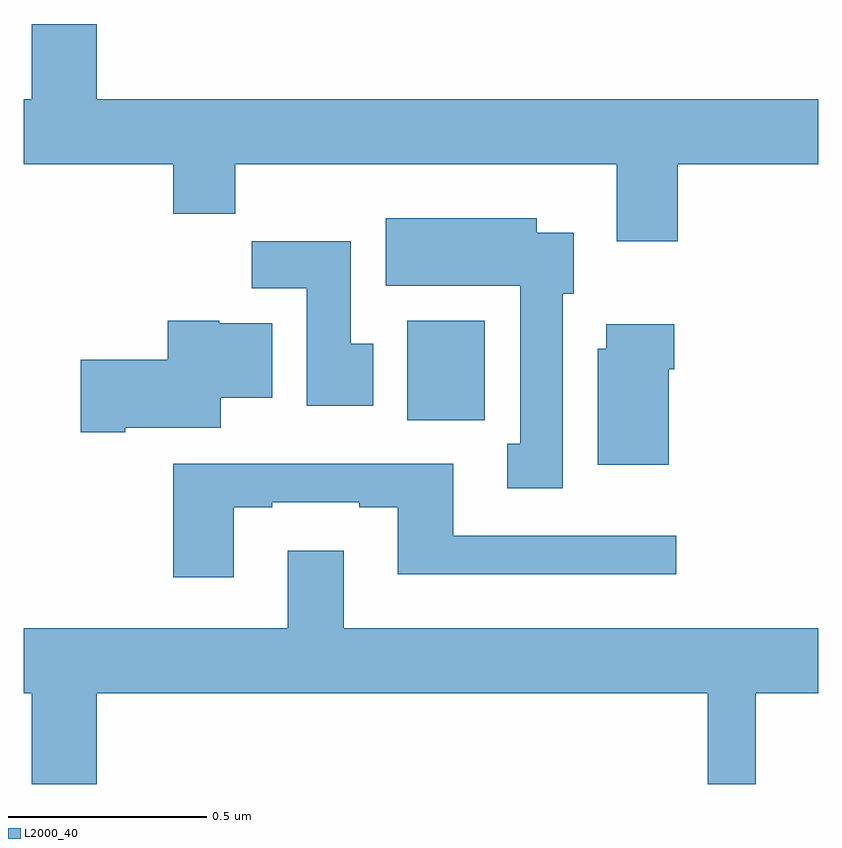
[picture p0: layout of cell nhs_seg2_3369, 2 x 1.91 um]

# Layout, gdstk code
import gdstk
lib = gdstk.Library(unit=1e-6, precision=1e-09)
def R(c, l, rs):  # rectangles x0, y0, x1, y1
    for r in rs: c.add(gdstk.rectangle(r[:2], r[2:], *l))
def P(c, l, *ps):  # polygons
    for p in ps: c.add(gdstk.Polygon(p, *l))
L2000_40 = (2000, 40)

nhs_seg2_3369 = lib.new_cell('nhs_seg2_3369')
R(nhs_seg2_3369, L2000_40, [(153.965,589.716,154.161,589.966)])
P(nhs_seg2_3369, L2000_40, [(154.646,590.36),(155,590.36),(155,590.524),(153.184,590.524),(153.184,590.713),(153.02,590.713),(153.02,590.524),(153,590.524),(153,590.36),(153.377,590.36),(153.377,590.236),(153.533,590.236),(153.533,590.36),(154.493,590.36),(154.493,590.166),(154.646,590.166)],
  [(154.357,590.034),(154.384,590.034),(154.384,590.188),(154.291,590.188),(154.291,590.224),(153.911,590.224),(153.911,590.054),(154.25,590.054),(154.25,589.657),(154.217,589.657),(154.217,589.545),(154.357,589.545)],
  [(153.88,589.908),(153.823,589.908),(153.823,590.166),(153.574,590.166),(153.574,590.048),(153.713,590.048),(153.713,589.752),(153.88,589.752)],
  [(153.256,589.697),(153.496,589.697),(153.496,589.772),(153.625,589.772),(153.625,589.96),(153.492,589.96),(153.492,589.966),(153.362,589.966),(153.362,589.868),(153.144,589.868),(153.144,589.685),(153.256,589.685)],
  [(154.624,589.844),(154.637,589.844),(154.637,589.957),(154.466,589.957),(154.466,589.896),(154.445,589.896),(154.445,589.604),(154.624,589.604)],
  [(153.529,589.497),(153.625,589.497),(153.625,589.509),(153.845,589.509),(153.845,589.497),(153.941,589.497),(153.941,589.328),(154.642,589.328),(154.642,589.425),(154.081,589.425),(154.081,589.606),(153.377,589.606),(153.377,589.32),(153.529,589.32)],
  [(153.184,589.028),(154.722,589.028),(154.722,588.8),(154.843,588.8),(154.843,589.028),(155,589.028),(155,589.192),(153.805,589.192),(153.805,589.387),(153.665,589.387),(153.665,589.192),(153,589.192),(153,589.028),(153.02,589.028),(153.02,588.8),(153.184,588.8)])

lib.write_gds('nhs_seg2_3369.gds')
